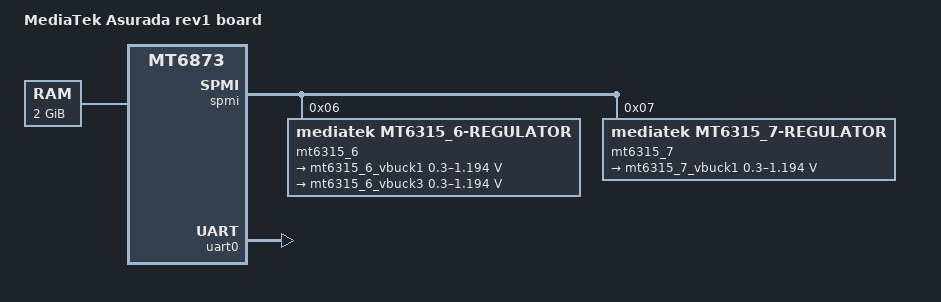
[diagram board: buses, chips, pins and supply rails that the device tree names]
// SPDX-License-Identifier: (GPL-2.0 OR MIT)
/*
 * Copyright (C) 2020 MediaTek Inc.
 * Author: Seiya Wang <seiya.wang@mediatek.com>
 */
/dts-v1/;
#include <dt-bindings/regulator/mtk,mt6315.h>
#include "mt8192.dtsi"
#include "mt6359.dtsi"

/ {
	model = "MediaTek Asurada rev1 board";
	compatible = "google,asurada-rev1", "google,asurada", "mediatek,mt6873";

	aliases {
		serial0 = &uart0;
	};

	chosen {
		stdout-path = "serial0:115200n8";
	};

	memory@40000000 {
		device_type = "memory";
		reg = <0 0x40000000 0 0x80000000>;
	};
};

/* for CORE */
&mt6359_vgpu11_buck_reg {
	regulator-always-on;
};

/* for APU */
&mt6359_vproc1_buck_reg {
	regulator-always-on;
};

/* for EMMC */
&mt6359_vufs_ldo_reg {
	regulator-always-on;
};

&mt6359_vemc_1_ldo_reg {
	regulator-always-on;
};

&mt6359_vaud18_ldo_reg {
	regulator-always-on;
};

&mt6359_vrf12_ldo_reg {
	regulator-always-on;
};

&pmic {
	interrupt-parent = <&pio>;
	interrupts = <214 IRQ_TYPE_LEVEL_HIGH>;
};

&spmi {
	grpid = <11>;
	mt6315_6: mt6315@6 {
		compatible = "mediatek,mt6315_6-regulator";
		reg = <0x6 0 0xb 1>;

		regulators {
			mt6315_6_vbuck1: vbuck1 {
				regulator-compatible = "vbuck1";
				regulator-name = "Vbcpu";
				regulator-min-microvolt = <300000>;
				regulator-max-microvolt = <1193750>;
				regulator-enable-ramp-delay = <256>;
				regulator-allowed-modes = <0 1 2 4>;
				regulator-always-on;
				mtk,combined-regulator = <MT6315_VBUCK2 MT6315_VBUCK4>;
			};

			mt6315_6_vbuck3: vbuck3 {
				regulator-compatible = "vbuck3";
				regulator-name = "Vlcpu";
				regulator-min-microvolt = <300000>;
				regulator-max-microvolt = <1193750>;
				regulator-enable-ramp-delay = <256>;
				regulator-allowed-modes = <0 1 2 4>;
				regulator-always-on;
			};
		};
	};

	mt6315_7: mt6315@7 {
		compatible = "mediatek,mt6315_7-regulator";
		reg = <0x7 0 0xb 1>;

		regulators {
			mt6315_7_vbuck1: vbuck1 {
				regulator-compatible = "vbuck1";
				regulator-name = "Vgpu";
				regulator-min-microvolt = <300000>;
				regulator-max-microvolt = <1193750>;
				regulator-enable-ramp-delay = <256>;
				regulator-allowed-modes = <0 1 2 4>;
				mtk,combined-regulator = <MT6315_VBUCK2>;
			};
		};
	};
};

&uart0 {
	status = "okay";
};
